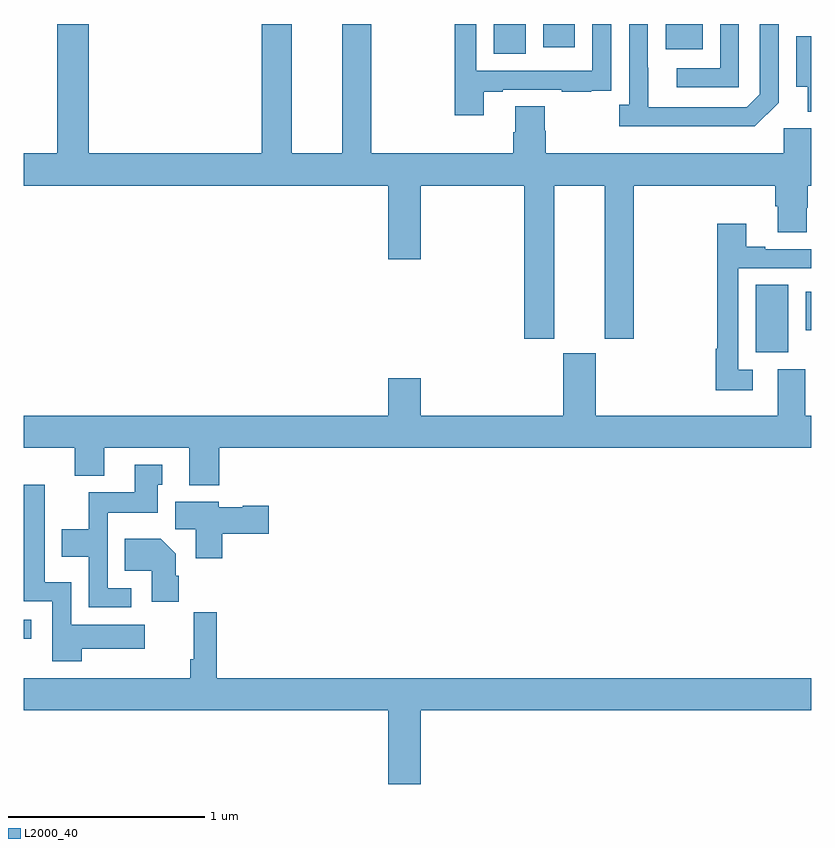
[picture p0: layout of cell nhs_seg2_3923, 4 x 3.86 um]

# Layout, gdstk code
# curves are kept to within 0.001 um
import gdstk
lib = gdstk.Library(unit=1e-6, precision=1e-09)
def R(c, l, rs):  # rectangles x0, y0, x1, y1
    for r in rs: c.add(gdstk.rectangle(r[:2], r[2:], *l))
def P(c, l, *ps):  # polygons
    for p in ps: c.add(gdstk.Polygon(p, *l))
L2000_40 = (2000, 40)

nhs_seg2_3923 = lib.new_cell('nhs_seg2_3923')
R(nhs_seg2_3923, L2000_40, [(319,634.679,319.039,634.776), (322.718,636.133,322.882,636.476), (322.97,636.245,323,636.442), (321.386,637.648,321.55,637.8), (322.259,637.673,322.447,637.8), (321.638,637.683,321.799,637.8)])
P(nhs_seg2_3923, L2000_40, [(321.337,637.455),(321.433,637.455),(321.433,637.467),(321.733,637.467),(321.733,637.455),(321.881,637.455),(321.881,637.461),(321.983,637.461),(321.983,637.57),(321.984,637.57),(321.984,637.8),(321.888,637.8),(321.888,637.563),(321.297,637.563),(321.297,637.8),(321.189,637.8),(321.189,637.338),(321.337,637.338)],
  [(321.694,636.98),(321.95,636.98),(321.95,636.201),(322.098,636.201),(322.098,636.98),(322.817,636.98),(322.817,636.874),(322.829,636.874),(322.829,636.742),(322.977,636.742),(322.977,636.867),(322.982,636.867),(322.982,636.98),(323,636.98),(323,637.27),(322.86,637.27),(322.86,637.144),(321.65,637.144),(321.65,637.257),(321.645,637.257),(321.645,637.382),(321.497,637.382),(321.497,637.25),(321.485,637.25),(321.485,637.144),(320.766,637.144),(320.766,637.8),(320.618,637.8),(320.618,637.144),(320.362,637.144),(320.362,637.8),(320.21,637.8),(320.21,637.144),(319.331,637.144),(319.331,637.8),(319.171,637.8),(319.171,637.144),(319,637.144),(319,636.98),(320.852,636.98),(320.852,636.606),(321.016,636.606),(321.016,636.98),(321.542,636.98),(321.542,636.201),(321.694,636.201)],
  [(322.833,637.401),(322.833,637.8),(322.737,637.8),(322.737,637.443),(322.671,637.377),(322.171,637.377),(322.17,637.8),(322.074,637.8),(322.074,637.39),(322.023,637.39),(322.023,637.28),(322.712,637.28)],
  [(322.632,637.8),(322.536,637.8),(322.536,637.575),(322.317,637.575),(322.317,637.479),(322.632,637.479)],
  [(323,637.738),(322.922,637.738),(322.922,637.481),(322.982,637.481),(322.982,637.355),(323,637.355)],
  [(322.702,636.045),(322.629,636.045),(322.629,636.561),(323,636.561),(323,636.657),(322.765,636.657),(322.765,636.67),(322.669,636.67),(322.669,636.787),(322.521,636.787),(322.521,636.152),(322.513,636.152),(322.513,635.94),(322.702,635.94)],
  [(319.994,635.648),(323,635.648),(323,635.812),(322.969,635.812),(322.969,636.048),(322.829,636.048),(322.829,635.812),(321.904,635.812),(321.904,636.129),(321.74,636.129),(321.74,635.812),(321.016,635.812),(321.016,636.001),(320.852,636.001),(320.852,635.812),(319,635.812),(319,635.648),(319.259,635.648),(319.259,635.507),(319.411,635.507),(319.411,635.648),(319.841,635.648),(319.841,635.459),(319.994,635.459)],
  [(319.546,634.935),(319.428,634.935),(319.428,635.318),(319.681,635.318),(319.681,635.46),(319.705,635.46),(319.705,635.563),(319.565,635.563),(319.565,635.422),(319.33,635.422),(319.33,635.236),(319.193,635.236),(319.193,635.096),(319.332,635.096),(319.332,634.839),(319.546,634.839)],
  [(319.295,634.628),(319.615,634.628),(319.615,634.75),(319.242,634.75),(319.242,634.966),(319.108,634.966),(319.108,635.461),(319,635.461),(319,634.869),(319.146,634.869),(319.146,634.566),(319.295,634.566)],
  [(320.009,635.213),(320.245,635.213),(320.245,635.355),(320.112,635.355),(320.112,635.347),(319.992,635.347),(319.992,635.374),(319.769,635.374),(319.769,635.236),(319.874,635.236),(319.874,635.088),(320.009,635.088)],
  [(319.787,635),(319.774,635),(319.774,635.11),(319.696,635.188),(319.513,635.188),(319.513,635.024),(319.652,635.024),(319.652,634.866),(319.787,634.866)],
  [(321.016,634.316),(323,634.316),(323,634.48),(319.982,634.48),(319.982,634.813),(319.864,634.813),(319.864,634.576),(319.846,634.576),(319.846,634.48),(319,634.48),(319,634.316),(320.852,634.316),(320.852,633.942),(321.016,633.942)])

lib.write_gds('nhs_seg2_3923.gds')
